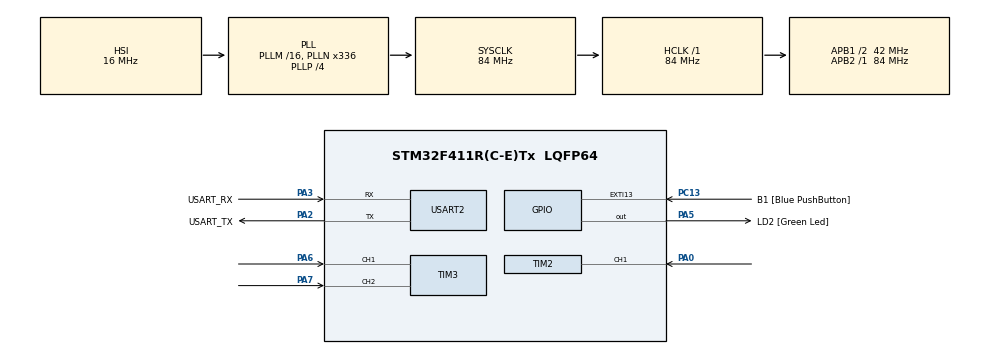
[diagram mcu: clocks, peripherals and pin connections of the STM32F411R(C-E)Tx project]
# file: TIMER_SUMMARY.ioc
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Dma.Request0=TIM2_CH1
Dma.TIM2_CH1.0.Direction=DMA_PERIPH_TO_MEMORY
Dma.TIM2_CH1.0.FIFOMode=DMA_FIFOMODE_DISABLE
Dma.TIM2_CH1.0.Instance=DMA1_Stream5
Dma.TIM2_CH1.0.MemDataAlignment=DMA_MDATAALIGN_WORD
Dma.TIM2_CH1.0.MemInc=DMA_MINC_ENABLE
Dma.TIM2_CH1.0.Mode=DMA_CIRCULAR
Dma.TIM2_CH1.0.PeriphDataAlignment=DMA_PDATAALIGN_WORD
Dma.TIM2_CH1.0.PeriphInc=DMA_PINC_DISABLE
Dma.TIM2_CH1.0.Priority=DMA_PRIORITY_LOW
Mcu.Family=STM32F4
Mcu.Name=STM32F411R(C-E)Tx
Mcu.Package=LQFP64
Mcu.UserConstants=QEI_PERIOD,64512
NVIC.DMA1_Stream5_IRQn=true\:0\:0\:false\:false\:true\:false\:true\:true
NVIC.PriorityGroup=NVIC_PRIORITYGROUP_0
PA0-WKUP.Signal=S_TIM2_CH1_ETR
PA13.GPIO_Label=TMS
PA13.Mode=Trace_Asynchronous_SW
PA13.Signal=SYS_JTMS-SWDIO
PA14.GPIO_Label=TCK
PA14.Mode=Trace_Asynchronous_SW
PA14.Signal=SYS_JTCK-SWCLK
PA2.GPIO_Label=USART_TX
PA2.Mode=Asynchronous
PA2.Signal=USART2_TX
PA3.GPIO_Label=USART_RX
PA3.Mode=Asynchronous
PA3.Signal=USART2_RX
PA5.GPIO_Label=LD2 [Green Led]
PA5.Signal=GPIO_Output
PA6.Signal=S_TIM3_CH1
PA7.Signal=S_TIM3_CH2
PB3.GPIO_Label=SWO
PB3.Mode=Trace_Asynchronous_SW
PB3.Signal=SYS_JTDO-SWO
PC13-ANTI_TAMP.GPIO_Label=B1 [Blue PushButton]
PC13-ANTI_TAMP.GPIO_ModeDefaultEXTI=GPIO_MODE_IT_FALLING
PC13-ANTI_TAMP.Signal=GPXTI13
PC14-OSC32_IN.Mode=LSE-External-Oscillator
PC14-OSC32_IN.Signal=RCC_OSC32_IN
PC15-OSC32_OUT.Mode=LSE-External-Oscillator
PC15-OSC32_OUT.Signal=RCC_OSC32_OUT
PH0\ -\ OSC_IN.Mode=HSE-External-Clock-Source
PH0\ -\ OSC_IN.Signal=RCC_OSC_IN
PH1\ -\ OSC_OUT.Mode=HSE-External-Clock-Source
PH1\ -\ OSC_OUT.Signal=RCC_OSC_OUT
ProjectManager.HeapSize=0x200
ProjectManager.StackSize=0x400
ProjectManager.TargetToolchain=STM32CubeIDE
RCC.48MHZClocksFreq_Value=84000000
RCC.AHBFreq_Value=84000000
RCC.APB1CLKDivider=RCC_HCLK_DIV2
RCC.APB1Freq_Value=42000000
RCC.APB1TimFreq_Value=84000000
RCC.APB2Freq_Value=84000000
RCC.APB2TimFreq_Value=84000000
RCC.CortexFreq_Value=84000000
RCC.FLatency-AdvancedSettings=FLASH_LATENCY_2
RCC.HCLKFreq_Value=84000000
RCC.HSE_VALUE=8000000
RCC.HSI_VALUE=16000000
RCC.PLLN=336
RCC.PLLP=RCC_PLLP_DIV4
RCC.SYSCLKFreq_VALUE=84000000
RCC.SYSCLKSource=RCC_SYSCLKSOURCE_PLLCLK
RCC.VCOOutputFreq_Value=336000000
SH.S_TIM2_CH1_ETR.0=TIM2_CH1,Input_Capture1_from_TI1
SH.S_TIM3_CH1.0=TIM3_CH1,Encoder_Interface
SH.S_TIM3_CH2.0=TIM3_CH2,Encoder_Interface
TIM2.Channel-Input_Capture1_from_TI1=TIM_CHANNEL_1
TIM2.Prescaler=83
TIM3.EncoderMode=TIM_ENCODERMODE_TI12
TIM3.Period=QEI_PERIOD -1
TIM5.Prescaler=83
USART2.VirtualMode=VM_ASYNC
VP_TIM2_VS_ClockSourceINT.Mode=Internal
VP_TIM5_VS_ClockSourceINT.Mode=Internal
board=NUCLEO-F411RE

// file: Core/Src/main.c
/* USER CODE BEGIN Header */
/**
  ******************************************************************************
  * @file           : main.c
  * @brief          : Main program body
  ******************************************************************************
  * @attention
  *
  * Copyright (c) 2023 STMicroelectronics.
  * All rights reserved.
  *
  * This software is licensed under terms that can be found in the LICENSE file
  * in the root directory of this software component.
  * If no LICENSE file comes with this software, it is provided AS-IS.
  *
  ******************************************************************************
  */
/* USER CODE END Header */
#include "main.h"

/* USER CODE BEGIN Includes */
#define IC_BUFFER_SIZE 20
/* USER CODE END Includes */

TIM_HandleTypeDef htim2;
TIM_HandleTypeDef htim3;
TIM_HandleTypeDef htim5;
DMA_HandleTypeDef hdma_tim2_ch1;

UART_HandleTypeDef huart2;

/* USER CODE BEGIN PV */

uint32_t InputCaptureBuffer[IC_BUFFER_SIZE];
float averageRisingedgePeriod;
uint32_t QEIReadRaw;
float angle;
typedef struct _QEIStructure
{
	uint32_t data[2];
	uint64_t timestamp[2];

	float QEIPosition;
	float QEIVelocity;

}QEIStructureTypedef;

QEIStructureTypedef QEIData = {0};

uint64_t _micros = 0;
/* USER CODE END PV */

void SystemClock_Config(void);
static void MX_GPIO_Init(void);
static void MX_DMA_Init(void);
static void MX_USART2_UART_Init(void);
static void MX_TIM2_Init(void);
static void MX_TIM3_Init(void);
static void MX_TIM5_Init(void);
/* USER CODE BEGIN PFP */
uint64_t micros();
/* USER CODE END PFP */

int main(void)
{

  /* MCU Configuration--------------------------------------------------------*/

  /* Reset of all peripherals, Initializes the Flash interface and the Systick. */
  HAL_Init();

  /* Configure the system clock */
  SystemClock_Config();

  /* Initialize all configured peripherals */
  MX_GPIO_Init();
  MX_DMA_Init();
  MX_USART2_UART_Init();
  MX_TIM2_Init();
  MX_TIM3_Init();
  MX_TIM5_Init();
  /* USER CODE BEGIN 2 */
  HAL_TIM_Base_Start(&htim2);
  HAL_TIM_IC_Start_DMA(&htim2, TIM_CHANNEL_1, InputCaptureBuffer, IC_BUFFER_SIZE);

  HAL_TIM_Encoder_Start(&htim3,TIM_CHANNEL_1 | TIM_CHANNEL_2);
  HAL_TIM_Base_Start(&htim5);
  /* USER CODE END 2 */

  /* Infinite loop */
  while (1)
  {

    /* USER CODE BEGIN 3 */
	  	static uint32_t timestamp = 0;
	  	int64_t currentTime = micros();
	  	if(currentTime > timestamp){
	  		timestamp = currentTime + 10000;
	  		QEIReadRaw = __HAL_TIM_GET_COUNTER(&htim3);
	  		angle = (QEIReadRaw/3072.0) * 360.0;
	  		printf("Position = %ld\n", QEIReadRaw);

	  		QEIEncoderPositionVelocity_Update();
	  	  }

  }
  /* USER CODE END 3 */
}

void SystemClock_Config(void)
{
  RCC_OscInitTypeDef RCC_OscInitStruct = {0};
  RCC_ClkInitTypeDef RCC_ClkInitStruct = {0};

  /** Configure the main internal regulator output voltage
  */
  __HAL_RCC_PWR_CLK_ENABLE();
  __HAL_PWR_VOLTAGESCALING_CONFIG(PWR_REGULATOR_VOLTAGE_SCALE1);

  /** Initializes the RCC Oscillators according to the specified parameters
  * in the RCC_OscInitTypeDef structure.
  */
  RCC_OscInitStruct.OscillatorType = RCC_OSCILLATORTYPE_HSI;
  RCC_OscInitStruct.HSIState = RCC_HSI_ON;
  RCC_OscInitStruct.HSICalibrationValue = RCC_HSICALIBRATION_DEFAULT;
  RCC_OscInitStruct.PLL.PLLState = RCC_PLL_ON;
  RCC_OscInitStruct.PLL.PLLSource = RCC_PLLSOURCE_HSI;
  RCC_OscInitStruct.PLL.PLLM = 16;
  RCC_OscInitStruct.PLL.PLLN = 336;
  RCC_OscInitStruct.PLL.PLLP = RCC_PLLP_DIV4;
  RCC_OscInitStruct.PLL.PLLQ = 4;
  if (HAL_RCC_OscConfig(&RCC_OscInitStruct) != HAL_OK)
  {
    Error_Handler();
  }

  /** Initializes the CPU, AHB and APB buses clocks
  */
  RCC_ClkInitStruct.ClockType = RCC_CLOCKTYPE_HCLK|RCC_CLOCKTYPE_SYSCLK
                              |RCC_CLOCKTYPE_PCLK1|RCC_CLOCKTYPE_PCLK2;
  RCC_ClkInitStruct.SYSCLKSource = RCC_SYSCLKSOURCE_PLLCLK;
  RCC_ClkInitStruct.AHBCLKDivider = RCC_SYSCLK_DIV1;
  RCC_ClkInitStruct.APB1CLKDivider = RCC_HCLK_DIV2;
  RCC_ClkInitStruct.APB2CLKDivider = RCC_HCLK_DIV1;

  if (HAL_RCC_ClockConfig(&RCC_ClkInitStruct, FLASH_LATENCY_2) != HAL_OK)
  {
    Error_Handler();
  }
}

static void MX_TIM2_Init(void)
{

  TIM_ClockConfigTypeDef sClockSourceConfig = {0};
  TIM_MasterConfigTypeDef sMasterConfig = {0};
  TIM_IC_InitTypeDef sConfigIC = {0};

  htim2.Instance = TIM2;
  htim2.Init.Prescaler = 83;
  htim2.Init.CounterMode = TIM_COUNTERMODE_UP;
  htim2.Init.Period = 4294967295;
  htim2.Init.ClockDivision = TIM_CLOCKDIVISION_DIV1;
  htim2.Init.AutoReloadPreload = TIM_AUTORELOAD_PRELOAD_DISABLE;
  if (HAL_TIM_Base_Init(&htim2) != HAL_OK)
  {
    Error_Handler();
  }
  sClockSourceConfig.ClockSource = TIM_CLOCKSOURCE_INTERNAL;
  if (HAL_TIM_ConfigClockSource(&htim2, &sClockSourceConfig) != HAL_OK)
  {
    Error_Handler();
  }
  if (HAL_TIM_IC_Init(&htim2) != HAL_OK)
  {
    Error_Handler();
  }
  sMasterConfig.MasterOutputTrigger = TIM_TRGO_RESET;
  sMasterConfig.MasterSlaveMode = TIM_MASTERSLAVEMODE_DISABLE;
  if (HAL_TIMEx_MasterConfigSynchronization(&htim2, &sMasterConfig) != HAL_OK)
  {
    Error_Handler();
  }
  sConfigIC.ICPolarity = TIM_INPUTCHANNELPOLARITY_RISING;
  sConfigIC.ICSelection = TIM_ICSELECTION_DIRECTTI;
  sConfigIC.ICPrescaler = TIM_ICPSC_DIV1;
  sConfigIC.ICFilter = 0;
  if (HAL_TIM_IC_ConfigChannel(&htim2, &sConfigIC, TIM_CHANNEL_1) != HAL_OK)
  {
    Error_Handler();
  }

}

static void MX_TIM3_Init(void)
{

  TIM_Encoder_InitTypeDef sConfig = {0};
  TIM_MasterConfigTypeDef sMasterConfig = {0};

  htim3.Instance = TIM3;
  htim3.Init.Prescaler = 0;
  htim3.Init.CounterMode = TIM_COUNTERMODE_UP;
  htim3.Init.Period = QEI_PERIOD -1;
  htim3.Init.ClockDivision = TIM_CLOCKDIVISION_DIV1;
  htim3.Init.AutoReloadPreload = TIM_AUTORELOAD_PRELOAD_DISABLE;
  sConfig.EncoderMode = TIM_ENCODERMODE_TI12;
  sConfig.IC1Polarity = TIM_ICPOLARITY_RISING;
  sConfig.IC1Selection = TIM_ICSELECTION_DIRECTTI;
  sConfig.IC1Prescaler = TIM_ICPSC_DIV1;
  sConfig.IC1Filter = 0;
  sConfig.IC2Polarity = TIM_ICPOLARITY_RISING;
  sConfig.IC2Selection = TIM_ICSELECTION_DIRECTTI;
  sConfig.IC2Prescaler = TIM_ICPSC_DIV1;
  sConfig.IC2Filter = 0;
  if (HAL_TIM_Encoder_Init(&htim3, &sConfig) != HAL_OK)
  {
    Error_Handler();
  }
  sMasterConfig.MasterOutputTrigger = TIM_TRGO_RESET;
  sMasterConfig.MasterSlaveMode = TIM_MASTERSLAVEMODE_DISABLE;
  if (HAL_TIMEx_MasterConfigSynchronization(&htim3, &sMasterConfig) != HAL_OK)
  {
    Error_Handler();
  }

}

static void MX_TIM5_Init(void)
{

  TIM_ClockConfigTypeDef sClockSourceConfig = {0};
  TIM_MasterConfigTypeDef sMasterConfig = {0};

  htim5.Instance = TIM5;
  htim5.Init.Prescaler = 83;
  htim5.Init.CounterMode = TIM_COUNTERMODE_UP;
  htim5.Init.Period = 4294967295;
  htim5.Init.ClockDivision = TIM_CLOCKDIVISION_DIV1;
  htim5.Init.AutoReloadPreload = TIM_AUTORELOAD_PRELOAD_DISABLE;
  if (HAL_TIM_Base_Init(&htim5) != HAL_OK)
  {
    Error_Handler();
  }
  sClockSourceConfig.ClockSource = TIM_CLOCKSOURCE_INTERNAL;
  if (HAL_TIM_ConfigClockSource(&htim5, &sClockSourceConfig) != HAL_OK)
  {
    Error_Handler();
  }
  sMasterConfig.MasterOutputTrigger = TIM_TRGO_RESET;
  sMasterConfig.MasterSlaveMode = TIM_MASTERSLAVEMODE_DISABLE;
  if (HAL_TIMEx_MasterConfigSynchronization(&htim5, &sMasterConfig) != HAL_OK)
  {
    Error_Handler();
  }

}

static void MX_USART2_UART_Init(void)
{

  huart2.Instance = USART2;
  huart2.Init.BaudRate = 115200;
  huart2.Init.WordLength = UART_WORDLENGTH_8B;
  huart2.Init.StopBits = UART_STOPBITS_1;
  huart2.Init.Parity = UART_PARITY_NONE;
  huart2.Init.Mode = UART_MODE_TX_RX;
  huart2.Init.HwFlowCtl = UART_HWCONTROL_NONE;
  huart2.Init.OverSampling = UART_OVERSAMPLING_16;
  if (HAL_UART_Init(&huart2) != HAL_OK)
  {
    Error_Handler();
  }

}

static void MX_DMA_Init(void)
{

  /* DMA controller clock enable */
  __HAL_RCC_DMA1_CLK_ENABLE();

  /* DMA interrupt init */
  /* DMA1_Stream5_IRQn interrupt configuration */
  HAL_NVIC_SetPriority(DMA1_Stream5_IRQn, 0, 0);
  HAL_NVIC_EnableIRQ(DMA1_Stream5_IRQn);

}

static void MX_GPIO_Init(void)
{
  GPIO_InitTypeDef GPIO_InitStruct = {0};

  /* GPIO Ports Clock Enable */
  __HAL_RCC_GPIOC_CLK_ENABLE();
  __HAL_RCC_GPIOH_CLK_ENABLE();
  __HAL_RCC_GPIOA_CLK_ENABLE();
  __HAL_RCC_GPIOB_CLK_ENABLE();

  /*Configure GPIO pin Output Level */
  HAL_GPIO_WritePin(LD2_GPIO_Port, LD2_Pin, GPIO_PIN_RESET);

  /*Configure GPIO pin : B1_Pin */
  GPIO_InitStruct.Pin = B1_Pin;
  GPIO_InitStruct.Mode = GPIO_MODE_IT_FALLING;
  GPIO_InitStruct.Pull = GPIO_NOPULL;
  HAL_GPIO_Init(B1_GPIO_Port, &GPIO_InitStruct);

  /*Configure GPIO pin : LD2_Pin */
  GPIO_InitStruct.Pin = LD2_Pin;
  GPIO_InitStruct.Mode = GPIO_MODE_OUTPUT_PP;
  GPIO_InitStruct.Pull = GPIO_NOPULL;
  GPIO_InitStruct.Speed = GPIO_SPEED_FREQ_LOW;
  HAL_GPIO_Init(LD2_GPIO_Port, &GPIO_InitStruct);

}

/* USER CODE BEGIN 4 */
float IC_Calc_Period()
{
	uint32_t currentDMAPointer = IC_BUFFER_SIZE - __HAL_DMA_GET_COUNTER(htim2.hdma[1]);

	uint32_t lastValidDMAPointer = (currentDMAPointer-1 + IC_BUFFER_SIZE) % IC_BUFFER_SIZE;

	uint32_t i = (lastValidDMAPointer + IC_BUFFER_SIZE - 5) % IC_BUFFER_SIZE;

	int32_t sumdiff = 0;

	while (i != lastValidDMAPointer)
	{
		uint32_t firstCapture = InputCaptureBuffer[i];

		uint32_t NextCapture = InputCaptureBuffer[(i+1)%IC_BUFFER_SIZE];
		sumdiff += NextCapture - firstCapture;
		i = (i+1) % IC_BUFFER_SIZE;
	}
	return sumdiff / 5.0;
}

/* USER CODE BEGIN 4 */
int _write(int file,char *ptr,int len)
{
	int i;
	for(i = 0;i<len;i++)
	{
		ITM_SendChar(*ptr++);
	}
	return len;
}

void HAL_TIM_PeriodElapsedCallback(TIM_HandleTypeDef *htim)
{
	if(htim == &htim5)
	{
		_micros += UINT32_MAX;
	}
}

uint64_t micros()
{
	return __HAL_TIM_GET_COUNTER(&htim5) + _micros;
}

void QEIEncoderPositionVelocity_Update(){
    // collect data
    QEIData.timestamp[0] = micros();
    uint32_t counterPosition = __HAL_TIM_GET_COUNTER(&htim3);
    QEIData.data[0] = counterPosition;

    // calculation
    QEIData.QEIPosition = counterPosition % 3072;

    int32_t diffPosition = QEIData.data[0] - QEIData.data[1];
    float difftime = (QEIData.timestamp[0] - QEIData.timestamp[1]);

    // wrapping
    if(diffPosition > QEI_PERIOD>>1) diffPosition -= QEI_PERIOD;
    if(diffPosition < -(QEI_PERIOD>>1)) diffPosition += QEI_PERIOD;

    // calculate speed
    QEIData.QEIVelocity = (diffPosition * 1000000) / difftime;

    QEIData.data[1] = QEIData.data[0];
    QEIData.timestamp[1] = QEIData.timestamp[0];
}

/* USER CODE END 4 */

void Error_Handler(void)
{
  __disable_irq();
  while (1)
  {
  }
}
